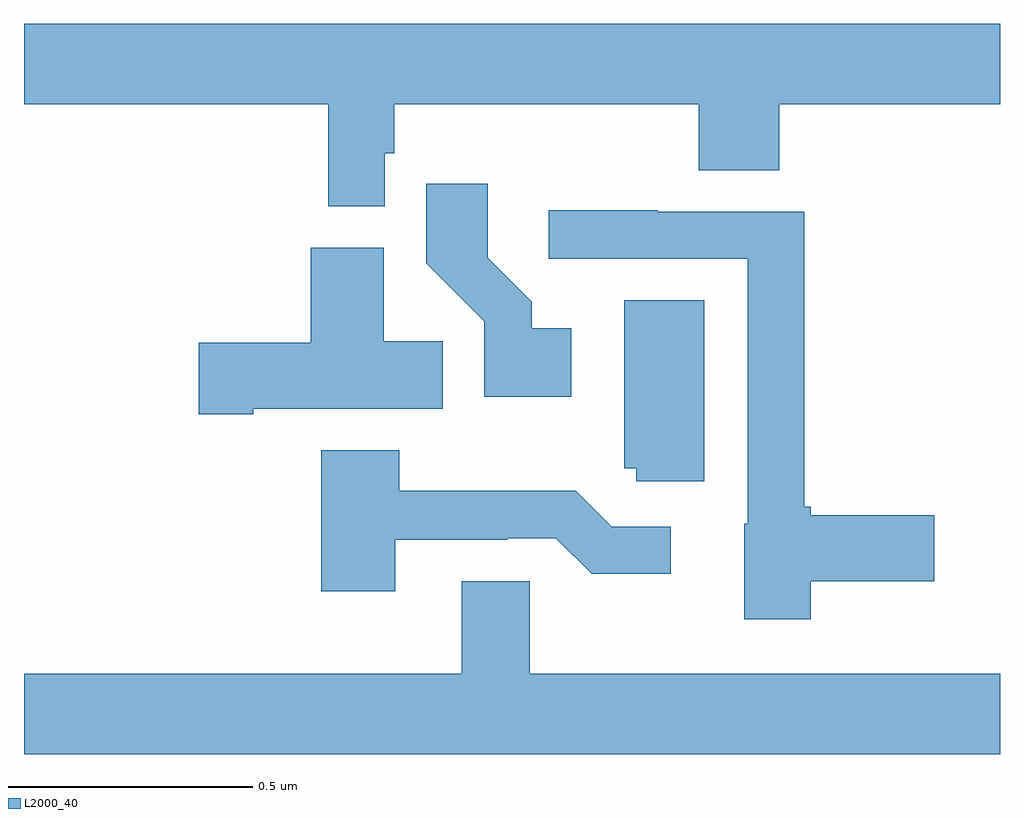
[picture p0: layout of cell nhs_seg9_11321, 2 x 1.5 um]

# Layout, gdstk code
import gdstk
lib = gdstk.Library(unit=1e-6, precision=1e-09)
def P(c, l, *ps):  # polygons
    for p in ps: c.add(gdstk.Polygon(p, *l))
L2000_40 = (2000, 40)

nhs_seg9_11321 = lib.new_cell('nhs_seg9_11321')
P(nhs_seg9_11321, L2000_40, [(254.739,1202.979),(254.759,1202.979),(254.759,1203.08),(255.383,1203.08),(255.383,1202.944),(255.548,1202.944),(255.548,1203.08),(256,1203.08),(256,1203.244),(254,1203.244),(254,1203.08),(254.623,1203.08),(254.623,1202.87),(254.739,1202.87)],
  [(255.121,1202.62),(255.04,1202.62),(255.04,1202.675),(254.95,1202.765),(254.95,1202.917),(254.824,1202.917),(254.824,1202.754),(254.943,1202.635),(254.943,1202.48),(255.121,1202.48)],
  [(255.612,1202.102),(255.865,1202.102),(255.865,1202.237),(255.612,1202.237),(255.612,1202.255),(255.599,1202.255),(255.599,1202.859),(255.299,1202.859),(255.299,1202.862),(255.075,1202.862),(255.075,1202.763),(255.483,1202.763),(255.483,1202.22),(255.476,1202.22),(255.476,1202.024),(255.612,1202.024)],
  [(254.47,1202.456),(254.858,1202.456),(254.858,1202.594),(254.737,1202.594),(254.737,1202.785),(254.588,1202.785),(254.588,1202.591),(254.358,1202.591),(254.358,1202.444),(254.47,1202.444)],
  [(255.394,1202.678),(255.23,1202.678),(255.23,1202.334),(255.255,1202.334),(255.255,1202.307),(255.394,1202.307)],
  [(254.761,1202.187),(254.99,1202.187),(254.99,1202.19),(255.09,1202.19),(255.163,1202.117),(255.325,1202.117),(255.325,1202.214),(255.204,1202.214),(255.131,1202.287),(254.769,1202.287),(254.769,1202.371),(254.609,1202.371),(254.609,1202.082),(254.761,1202.082)],
  [(256,1201.912),(255.036,1201.912),(255.036,1202.102),(254.897,1202.102),(254.897,1201.912),(254,1201.912),(254,1201.748),(256,1201.748)])

lib.write_gds('nhs_seg9_11321.gds')
